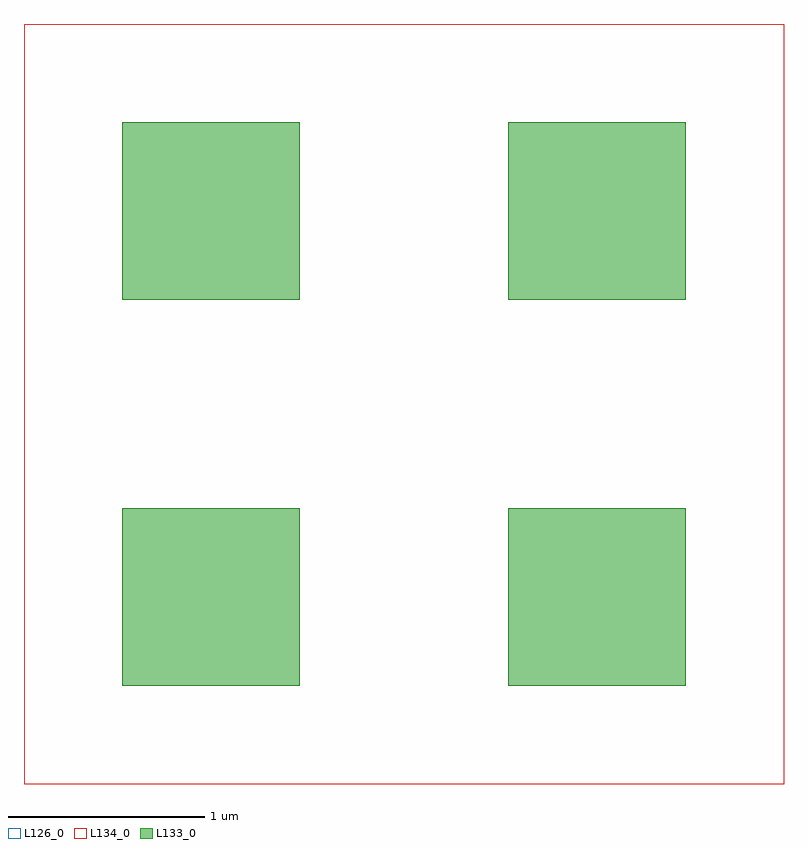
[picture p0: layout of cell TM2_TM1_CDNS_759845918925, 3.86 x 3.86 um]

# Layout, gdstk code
import gdstk
lib = gdstk.Library(unit=1e-6, precision=1e-09)
def R(c, l, rs):  # rectangles x0, y0, x1, y1
    for r in rs: c.add(gdstk.rectangle(r[:2], r[2:], *l))
L126_0 = (126, 0)
L133_0 = (133, 0)
L134_0 = (134, 0)

tm2_tm1_cdns_75984591892 = lib.new_cell('TM2_TM1_CDNS_759845918925')
R(tm2_tm1_cdns_75984591892, L126_0, [(-1.93,-1.93,1.93,1.93)])
R(tm2_tm1_cdns_75984591892, L133_0, [(-1.43,-1.43,-0.53,-0.53), (0.53,-1.43,1.43,-0.53), (-1.43,0.53,-0.53,1.43), (0.53,0.53,1.43,1.43)])
R(tm2_tm1_cdns_75984591892, L134_0, [(-1.93,-1.93,1.93,1.93)])

lib.write_gds('TM2_TM1_CDNS_759845918925.gds')
